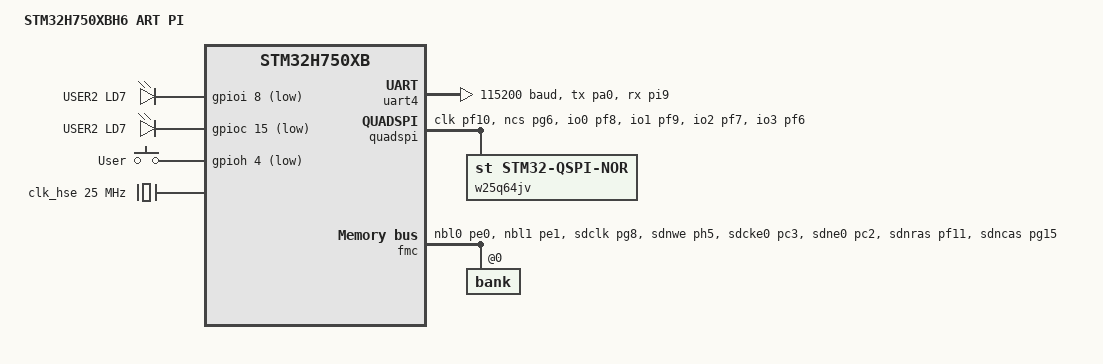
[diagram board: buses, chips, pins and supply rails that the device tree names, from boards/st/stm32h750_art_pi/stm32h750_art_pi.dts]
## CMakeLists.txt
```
# SPDX-License-Identifier: Apache-2.0

cmake_minimum_required(VERSION 3.20.0)

list(APPEND BOARD_ROOT ${CMAKE_SOURCE_DIR})
find_package(Zephyr REQUIRED HINTS $ENV{ZEPHYR_BASE})

project(blinky)
target_sources(app PRIVATE src/main.c)
```

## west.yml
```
# Example T2 west.yml, using manifest imports.
manifest:
  remotes:
    - name: zephyrproject-rtos
      url-base: https://github.com/zephyrproject-rtos
  projects:
    - name: zephyr
      remote: zephyrproject-rtos
      revision: v3.6.0
      import: true
  self:
    path: app
```

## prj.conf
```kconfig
CONFIG_GPIO=y
CONFIG_UART_CONSOLE=y
CONFIG_SHELL=y
CONFIG_MEMC=y
CONFIG_MEMC_STM32=y
CONFIG_MEMC_STM32_SDRAM=y
CONFIG_FLASH_SHELL=y
CONFIG_FLASH_SHELL_TEST_COMMANDS=y
CONFIG_LOG=y
CONFIG_LOG_DEFAULT_LEVEL=3
```

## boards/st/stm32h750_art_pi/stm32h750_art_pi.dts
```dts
/*
 * Copyright (c) 2023 STMicroelectronics
 *
 * SPDX-License-Identifier: Apache-2.0
 */

/dts-v1/;
#include <st/h7/stm32h750Xb.dtsi>
#include <st/h7/stm32h750xbhx-pinctrl.dtsi>
#include <zephyr/dt-bindings/input/input-event-codes.h>

/ {
	model = "STM32H750XBH6 ART PI";
	compatible = "st,stm32h750xb-art-pi";

	chosen {
		zephyr,console = &uart4;
		zephyr,shell-uart = &uart4;
		zephyr,sram = &sram0;
		zephyr,flash = &flash0;
		spi-flash0 = &w25q64jv;
	};

	leds {
		compatible = "gpio-leds";
		blue_led: led_1 {
			gpios = <&gpioi 8 GPIO_ACTIVE_LOW>;
			label = "USER2 LD7";
		};
		red_led: led_2 {
			gpios = <&gpioc 15 GPIO_ACTIVE_LOW>;
			label = "USER2 LD7";
		};
	};

	gpio_keys {
		compatible = "gpio-keys";
		user_button: button {
			label = "User";
			gpios = <&gpioh 4 GPIO_ACTIVE_LOW>;
			zephyr,code = <INPUT_KEY_0>;
		};
	};

	sdram1: sdram@c0000000 {
		compatible = "zephyr,memory-region", "mmio-sram";
		device_type = "memory";
		reg = <0xc0000000 DT_SIZE_M(32)>;
		zephyr,memory-region = "SDRAM1";
		zephyr,memory-attr = <( DT_MEM_ARM(ATTR_MPU_RAM) )>;
	};

	aliases {
		led0 = &blue_led;
		led1 = &red_led;
		sw0 = &user_button;
	};
};

&clk_hse {
	clock-frequency = <DT_FREQ_M(25)>;
	status = "okay";
};

&pll {
	div-m = <5>;
	mul-n = <192>;
	div-p = <2>;
	div-q = <4>;
	div-r = <4>;
	clocks = <&clk_hse>;
	status = "okay";
};

&rcc {
	clocks = <&pll>;
	clock-frequency = <DT_FREQ_M(480)>;
	d1cpre = <1>;
	hpre = <2>;
	d1ppre = <2>;
	d2ppre1 = <2>;
	d2ppre2 = <2>;
	d3ppre = <2>;
};

&uart4 {
	pinctrl-0 = <&uart4_tx_pa0 &uart4_rx_pi9>;
	pinctrl-names = "default";
	current-speed = <115200>;
	status = "okay";
};

&quadspi {
	pinctrl-0 = <&quadspi_clk_pf10 &quadspi_bk1_ncs_pg6
			&quadspi_bk1_io0_pf8 &quadspi_bk1_io1_pf9
			&quadspi_bk1_io2_pf7 &quadspi_bk1_io3_pf6>;
	pinctrl-names = "default";

	status = "okay";
	w25q64jv: qspi-nor-flash@90000000 {
			compatible = "st,stm32-qspi-nor";
			reg = <0x90000000 DT_SIZE_M(8)>; /* 128 Mbits */
			qspi-max-frequency = <80000000>;
			jedec-id = [ef 40 18];
			spi-bus-width = <4>;
			status = "okay";
	};
};

&fmc {
	status = "okay";
	pinctrl-0 = <&fmc_nbl0_pe0 &fmc_nbl1_pe1
		     &fmc_sdclk_pg8 &fmc_sdnwe_ph5 &fmc_sdcke0_pc3
		     &fmc_sdne0_pc2 &fmc_sdnras_pf11 &fmc_sdncas_pg15
		     &fmc_a0_pf0 &fmc_a1_pf1 &fmc_a2_pf2 &fmc_a3_pf3 &fmc_a4_pf4
		     &fmc_a5_pf5 &fmc_a6_pf12 &fmc_a7_pf13 &fmc_a8_pf14
		     &fmc_a9_pf15 &fmc_a10_pg0 &fmc_a11_pg1 &fmc_a12_pg2
		     &fmc_a14_pg4 &fmc_a15_pg5 &fmc_d0_pd14 &fmc_d1_pd15
		     &fmc_d2_pd0 &fmc_d3_pd1 &fmc_d4_pe7 &fmc_d5_pe8 &fmc_d6_pe9
		     &fmc_d7_pe10 &fmc_d8_pe11 &fmc_d9_pe12 &fmc_d10_pe13
		     &fmc_d11_pe14 &fmc_d12_pe15 &fmc_d13_pd8 &fmc_d14_pd9
		     &fmc_d15_pd10>;
	pinctrl-names = "default";

	sdram {
		status = "okay";
		power-up-delay = <100>;
		num-auto-refresh = <8>;
		mode-register = <0x221>;
		refresh-rate = <0x02A5>;

		bank@0 {
			reg = <0>;

			st,sdram-control = <STM32_FMC_SDRAM_NC_9
						STM32_FMC_SDRAM_NR_13
					    STM32_FMC_SDRAM_MWID_16
                        STM32_FMC_SDRAM_NB_4
					    STM32_FMC_SDRAM_CAS_2
					    STM32_FMC_SDRAM_SDCLK_PERIOD_2
					    STM32_FMC_SDRAM_RBURST_ENABLE
					    STM32_FMC_SDRAM_RPIPE_0>;
			st,sdram-timing = <2 8 6 6 2 2 2>;
		};
	};
};
```

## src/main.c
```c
/*
 * Copyright (c) 2016 Intel Corporation
 *
 * SPDX-License-Identifier: Apache-2.0
 */

#include <stdio.h>
#include <string.h>
#include <zephyr/kernel.h>
#include <zephyr/drivers/gpio.h>

/* 1000 msec = 1 sec */
#define SLEEP_TIME_MS   1000

/* The devicetree node identifier for the "led0" alias. */
#define LED_BLUE DT_ALIAS(led0)
#define LED_RED DT_ALIAS(led1)
/*
 * A build error on this line means your board is unsupported.
 * See the sample documentation for information on how to fix this.
 */
static const struct gpio_dt_spec led_blue = GPIO_DT_SPEC_GET(LED_BLUE, gpios);
static const struct gpio_dt_spec led_red = GPIO_DT_SPEC_GET(LED_RED, gpios);

static int sdram_test(void)
{
	int res = 0;
	char *p = (char *)0xc0000000;
	char *q = (char *)0xc0000000 + 512;
	memset(p, 'a', 512);
	memset(q, 'a', 512);
	if(!(res = memcmp(q, p, 512)))
		printk("sdram test ok!!!\n");
	else
	 	printk("sdram test error!!!\n");

	return res;
}

int main(void)
{
	printk("hello zephyr.\n");
	if (!gpio_is_ready_dt(&led_blue) && !gpio_is_ready_dt(&led_red)) {
		return 0;
	}

	if (gpio_pin_configure_dt(&led_blue, GPIO_OUTPUT_ACTIVE) < 0 || gpio_pin_configure_dt(&led_red, GPIO_OUTPUT_ACTIVE) < 0) {
		return 0;
	}

	sdram_test();
	while (1) {
		if (gpio_pin_toggle_dt(&led_blue) < 0 || gpio_pin_toggle_dt(&led_red)) {
			return 0;
		}
		k_msleep(SLEEP_TIME_MS);
	}
	return 0;
}
```
